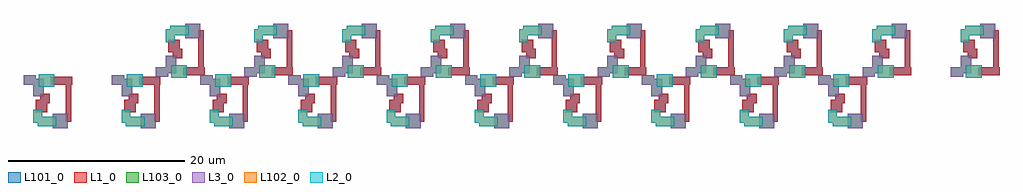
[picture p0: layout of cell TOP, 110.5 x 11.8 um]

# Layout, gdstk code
from math import pi, radians
import gdstk
lib = gdstk.Library(unit=1e-6, precision=1e-09)
def R(c, l, rs):  # rectangles x0, y0, x1, y1
    for r in rs: c.add(gdstk.rectangle(r[:2], r[2:], *l))
def A(c, l, x, y, w, h, nx, ny, dx, dy):  # array of equal rectangles
    R(c, l, [(x+i*dx, y+j*dy, x+i*dx+w, y+j*dy+h) for i in range(nx) for j in range(ny)])
L1_0 = (1, 0)
L2_0 = (2, 0)
L3_0 = (3, 0)
L101_0 = (101, 0)
L102_0 = (102, 0)
L103_0 = (103, 0)

c_c1 = lib.new_cell('C1')
R(c_c1, L1_0, [(-2.7,-3.3,-1.8,-0.9), (-2.1,-3.2,2.4,-2.6), (-0.8,-0.8,0.3,0.3), (-0.1,-0.5,1.3,0.8)])
R(c_c1, L2_0, [(1.8,-1.5,2.9,0.6), (-3,-1.3,-1.6,0.5), (1,0.1,2.5,1.1)])
R(c_c1, L3_0, [(1.5,-2.8,3.1,-1.1), (-2.5,-0.1,-0.5,1.1), (-2.9,0.8,-1.8,2.2)])

conn = lib.new_cell('CONN')
R(conn, L1_0, [(0,0,0.2,0.4)])

top = lib.new_cell('TOP')
A(top, L101_0, -13.3, -4.5, 0.6, 4.5, 10, 1, 10, 0)
A(top, L101_0, -16.7, -3.4, 1.3, 1.4, 10, 1, 10, 0)
A(top, L101_0, -16.2, -2.4, 1.1, 1.1, 10, 1, 10, 0)
A(top, L101_0, -15, -0.3, 2.4, 0.9, 10, 1, 10, 0)
A(top, L101_0, 0, 0.8, 2.4, 0.9, 10, 1, 10, 0)
A(top, L101_0, 1.7, 1.4, 0.6, 4.5, 10, 1, 10, 0)
A(top, L101_0, -1.2, 2.7, 1.1, 1.1, 10, 1, 10, 0)
A(top, L101_0, -1.7, 3.4, 1.3, 1.4, 10, 1, 10, 0)
A(top, L101_0, 30.3, 5.8, 0.2, 0.4, 5, 1, 10, 0)
A(top, L102_0, -16.5, -5, 2.1, 1.1, 10, 1, 10, 0)
A(top, L102_0, -17, -4.6, 1, 1.5, 10, 1, 10, 0)
A(top, L102_0, -16.4, -0.5, 1.8, 1.4, 10, 1, 10, 0)
A(top, L102_0, -1.4, 0.5, 1.8, 1.4, 10, 1, 10, 0)
A(top, L102_0, -2, 4.5, 1, 1.5, 10, 1, 10, 0)
A(top, L102_0, -1.5, 5.3, 2.1, 1.1, 10, 1, 10, 0)
A(top, L103_0, -14.8, -5.2, 1.7, 1.6, 10, 1, 10, 0)
A(top, L103_0, -17, -1.6, 1.2, 2, 10, 1, 10, 0)
A(top, L103_0, -18.1, -0.3, 1.4, 1.1, 10, 1, 10, 0)
A(top, L103_0, -3.1, 0.6, 1.4, 1.1, 10, 1, 10, 0)
A(top, L103_0, -2, 1, 1.2, 2, 10, 1, 10, 0)
A(top, L103_0, 0.2, 5, 1.7, 1.6, 10, 1, 10, 0)
r = gdstk.Reference(c_c1, (89.1,3.5), rotation=pi/2); r.repetition = gdstk.Repetition(1, 10, v1=(0,0), v2=(-10,0)); top.add(r)
r = gdstk.Reference(c_c1, (74.1,-2.1), rotation=3*pi/2, x_reflection=True); r.repetition = gdstk.Repetition(1, 10, v1=(0,0), v2=(-10,0)); top.add(r)
r = gdstk.Reference(conn, (30.3,5.8)); r.repetition = gdstk.Repetition(5, 1, v1=(10,0), v2=(0,0)); top.add(r)

lib.write_gds('TOP.gds')
